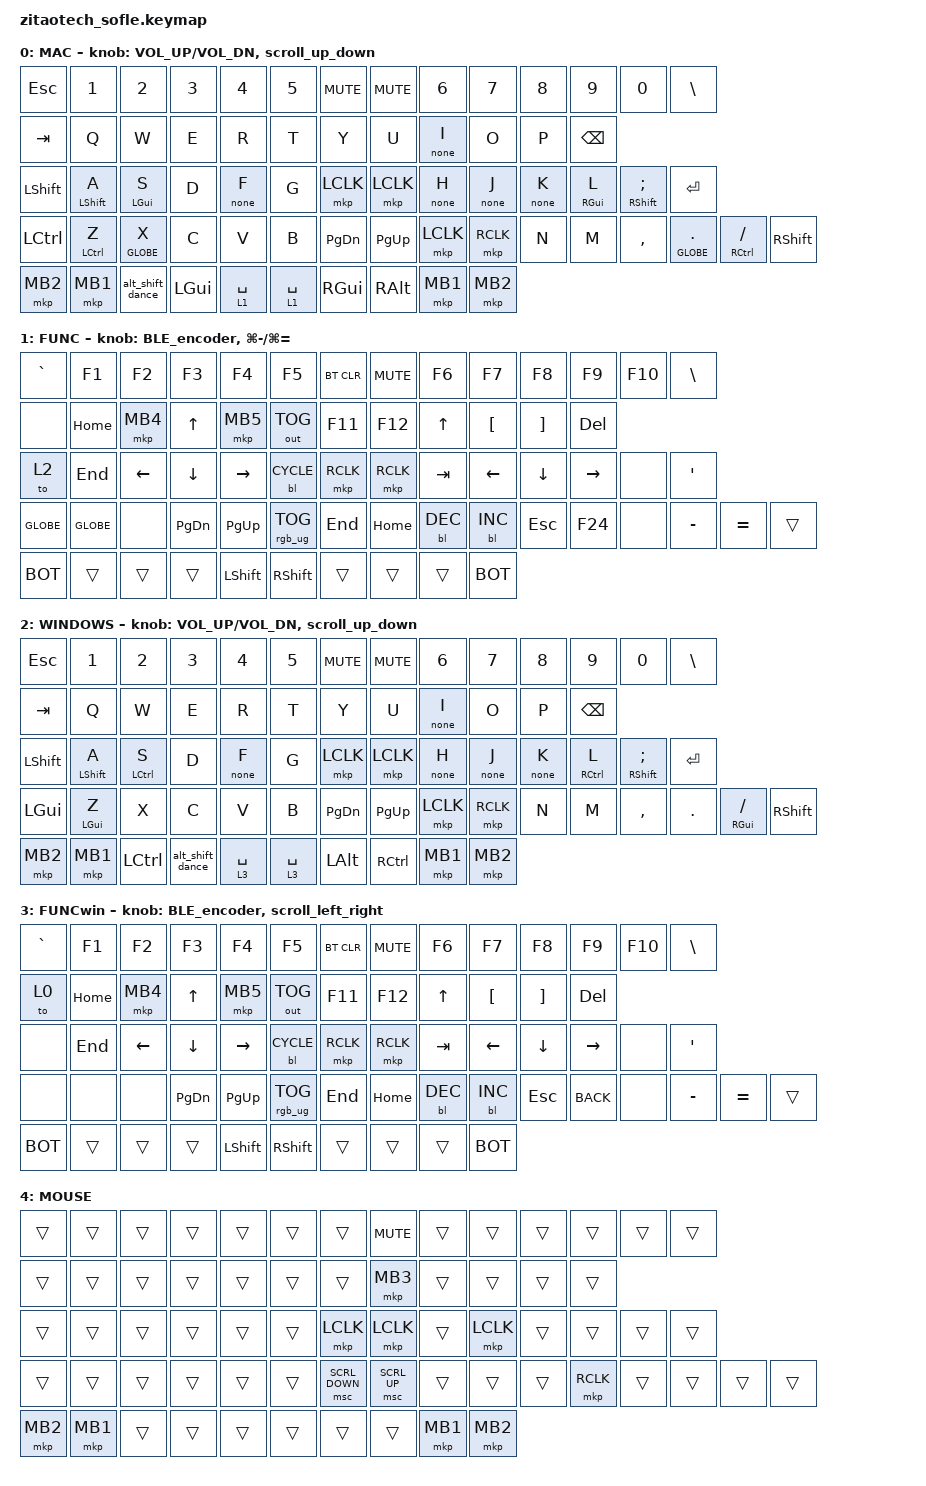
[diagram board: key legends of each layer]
/*
 * Copyright (c) 2025 ZitaoTech
 *
 * SPDX-License-Identifier: MIT
 */

#include <dt-bindings/zmk/mouse.h>
#include <behaviors.dtsi>
#include <dt-bindings/zmk/backlight.h>
#include <dt-bindings/zmk/bt.h>
#include <dt-bindings/zmk/keys.h>
#include <dt-bindings/zmk/outputs.h>
#include <dt-bindings/zmk/pointing.h>
#include <dt-bindings/zmk/rgb.h>

#define FUNC 1
#define RES 2
#define BOT bootloader
#define ZMK_POINTING_DEFAULT_SCRL_VAL 100 // 旋钮滚动的关键，100是修改滚动地快慢的。

/ {
    input_processors {
        // 临时图层处理器。鼠标图层（Mouse Layer）自动切换

        zip_temp_layer: zip_temp_layer {
            compatible = "zmk,input-processor-temp-layer";
            #input-processor-cells = <2>;
        };

        // 键入特定按键后，小红点输出上下左右。

        ip_behaviors0: ip_behaviors0 {
            compatible = "zmk,input-processor-behaviors";
            #input-processor-cells = <0>;
            type = <INPUT_EV_KEY>;
            codes = <INPUT_BTN_0>;
            bindings = <&kp RIGHT>;
        };

        ip_behaviors1: ip_behaviors1 {
            compatible = "zmk,input-processor-behaviors";
            #input-processor-cells = <0>;
            type = <INPUT_EV_KEY>;
            codes = <INPUT_BTN_1>;
            bindings = <&kp LEFT>;
        };

        ip_behaviors2: ip_behaviors2 {
            compatible = "zmk,input-processor-behaviors";
            #input-processor-cells = <0>;
            type = <INPUT_EV_KEY>;
            codes = <INPUT_BTN_2>;
            bindings = <&kp DOWN>;
        };

        ip_behaviors3: ip_behaviors3 {
            compatible = "zmk,input-processor-behaviors";
            #input-processor-cells = <0>;
            type = <INPUT_EV_KEY>;
            codes = <INPUT_BTN_3>;
            bindings = <&kp UP>;
        };
    };
};

/ {
    behaviors {
        td0: tap_dance_0 {
            compatible = "zmk,behavior-tap-dance";
            #binding-cells = <0>;
            tapping-term-ms = <400>;
            bindings = <&mkp LCLK>, <&bt BT_CLR>;
        };
    };

    behaviors {
        hm: homerow_mods {
            compatible = "zmk,behavior-hold-tap";
            #binding-cells = <2>;
            tapping-term-ms = <500>;
            bindings = <&kp &kp>;
        };
    };

    behaviors {
        sp_sc: behavior_spacescroll {
            compatible = "zmk,behavior-hold-tap";
            #binding-cells = <2>;
            flavor = "tap-preferred";     /* 单击优先 */
            tapping-term-ms = <200>;       /* 长按阈值 */
            bindings = <&none &kp>;        /* hold=none, tap=space */
        };
    };

    behaviors {
        BLE_encoder: BLE_encoder {
            compatible = "zmk,behavior-sensor-rotate";
            #sensor-binding-cells = <0>;
            bindings = <&bt BT_NXT>, <&bt BT_PRV>;
        };
    };

    // 下面添加几个我自己的 behavior

    behaviors {
        alt_shift_dance: alt_shift_dance {
            compatible = "zmk,behavior-tap-dance";
            label = "ALT_SHIFT_DANCE";
            #binding-cells = <0>;
            bindings = <&mt LEFT_ALT BACKSPACE>, <&mt LEFT_SHIFT DEL>;
        };
    };

    behaviors {
        hml: homewrow_modes_left {
            compatible = "zmk,behavior-hold-tap";
            label = "HOMEROW_MODS_LEFT_HAND";
            bindings = <&kp>, <&kp>;

            #binding-cells = <2>;
            tapping-term-ms = <200>;
            flavor = "tap-preferred";
        };
    };

    behaviors {
        hmr: homewrow_mods_right {
            compatible = "zmk,behavior-hold-tap";
            label = "HOMEROW_MODS_RIGHT_HAND";
            bindings = <&kp>, <&kp>;

            #binding-cells = <2>;
            tapping-term-ms = <200>;
            flavor = "tap-preferred";
        };
    };

    behaviors {
        scroll_up_down: behavior_sensor_rotate_mouse_wheel_up_down {
            compatible = "zmk,behavior-sensor-rotate";
            #sensor-binding-cells = <0>;
            bindings = <&msc SCRL_UP>, <&msc SCRL_DOWN>;

            tap-ms = <20>;
        };
    };

    behaviors {
        // 定义一个新的行为，专门用于横向滚动

        scroll_left_right: behavior_sensor_rotate_mouse_wheel_left_right {
            compatible = "zmk,behavior-sensor-rotate";
            #sensor-binding-cells = <0>;

            // 修改这里：UP/DOWN 改为 LEFT/RIGHT

            bindings = <&msc SCRL_LEFT>, <&msc SCRL_RIGHT>;

            tap-ms = <20>;
        };

        hml_none: hml_none {
            compatible = "zmk,behavior-hold-tap";
            label = "HML_NONE";
            bindings = <&none>, <&kp>;

            #binding-cells = <2>;
            tapping-term-ms = <200>;
            flavor = "tap-preferred";
        };
    };

    // 我定义的组合键：

    combos {
        compatible = "zmk,combos";

        leftsmallbracket {
            bindings = <&kp LEFT_PARENTHESIS>;
            key-positions = <17 18>;
            layers = <0 2>;
        };

        rightsmallbracket {
            bindings = <&kp RIGHT_PARENTHESIS>;
            key-positions = <21 22>;
            layers = <0 2>;
        };

        esc {
            bindings = <&kp ESC>;
            key-positions = <15 16>;
            layers = <0 2>;
        };

        double-quotation {
            bindings = <&kp DOUBLE_QUOTES>;
            key-positions = <27 28>;
            layers = <0 2>;
        };

        single-quotation {
            bindings = <&kp SQT>;
            key-positions = <37 38>;
            layers = <0 2>;
        };

        enter {
            bindings = <&kp ENTER>;
            key-positions = <41 42>;
            layers = <0 2>;
        };

        slash {
            bindings = <&kp BACKSLASH>;
            key-positions = <22 23>;
            layers = <0 2>;
        };

        S_slash {
            bindings = <&kp PIPE>;
            key-positions = <23 24>;
            layers = <0 2>;
        };

        leftsquarebracket {
            bindings = <&kp LEFT_BRACKET>;
            key-positions = <29 30>;
            layers = <0 2>;
        };

        rightsquarebracket {
            bindings = <&kp RIGHT_BRACKET>;
            key-positions = <35 36>;
            layers = <0 2>;
        };

        bigleft {
            bindings = <&kp LEFT_BRACE>;
            key-positions = <43 44>;
            layers = <0 2>;
        };

        bigright {
            bindings = <&kp RIGHT_BRACE>;
            key-positions = <51 52>;
            layers = <0 2>;
        };

        to-windows {
            // bindings = <&to 1>;

            bindings = <&tog 2>;  // 使用宏而不是直接 &to 1
            key-positions = <1 2>;
            layers = <0>;
        };

        to-mac {
            // bindings = <&to 0>;

            bindings = <&mac_pure>;  // 使用宏返回
            key-positions = <0 1>;
            layers = <2>;
        };
    };

    macros {
        // 强制进入 Windows 层并清理其他所有层级

        win_pure: win_pure {
            compatible = "zmk,behavior-macro";
            #binding-cells = <0>;
            wait-ms = <10>;
            tap-ms = <10>;
            bindings = <&to 0 &to 1>;
        };

        // 强制回到 Mac 层并清理

        mac_pure: mac_pure {
            compatible = "zmk,behavior-macro";
            #binding-cells = <0>;
            wait-ms = <10>;
            tap-ms = <10>;
            bindings = <&to 0>;
        };
    };

    keymap {
        compatible = "zmk,keymap";

        default_layer {
            // display-name = "QWERTY";

            display-name = "MAC";
            bindings = <
&kp ESC         &kp N1               &kp N2            &kp N3    &kp N4         &kp N5       &kp C_MUTE  &kp C_MUTE  &kp N6         &kp N7         &kp N8         &kp N9            &kp N0                 &kp BACKSLASH
&kp TAB         &kp Q                &kp W             &kp E     &kp R          &kp T        &kp Y       &kp U       &hml_none 0 I  &kp O          &kp P          &kp BSPC
&kp LEFT_SHIFT  &hml LEFT_SHIFT A    &hml LEFT_GUI S   &kp D     &hml_none 0 F  &kp G        &mkp LCLK   &mkp LCLK   &hml_none 0 H  &hml_none 0 J  &hml_none 0 K  &hmr RIGHT_GUI L  &hmr RIGHT_SHIFT SEMI  &kp ENTER
&kp LCTRL       &hml LEFT_CONTROL Z  &hml GLOBE X      &kp C     &kp V          &kp B        &kp PG_DN   &kp PG_UP   &mkp LCLK      &mkp RCLK      &kp N          &kp M             &kp COMMA              &hml GLOBE DOT  &hmr RIGHT_CONTROL FSLH  &kp RSHIFT
&mkp MB2        &mkp MB1             &alt_shift_dance  &kp LGUI  &lt 1 SPACE    &lt 1 SPACE  &kp RGUI    &kp RALT    &mkp MB1       &mkp MB2
            >;

            sensor-bindings =
                <&inc_dec_kp C_VOL_UP C_VOL_DN>,
                <&scroll_up_down>;

            // <&inc_dec_kp PAGE_UP PAGE_DOWN>;
        };

        func_layer {
            display-name = "FUNC";
            bindings = <
&kp GRAVE  &kp F1     &kp F2          &kp F3          &kp F4           &kp F5           &bt BT_CLR  &kp C_MUTE  &kp F6        &kp F7            &kp F8             &kp F9           &kp F10  &kp BACKSLASH
&none      &kp HOME   &mkp MB4        &kp UP_ARROW    &mkp MB5         &out OUT_TOG     &kp F11     &kp F12     &kp UP_ARROW  &kp LEFT_BRACKET  &kp RIGHT_BRACKET  &kp DEL
&to 2      &kp END    &kp LEFT_ARROW  &kp DOWN_ARROW  &kp RIGHT_ARROW  &bl BL_CYCLE     &mkp RCLK   &mkp RCLK   &kp TAB       &kp LEFT_ARROW    &kp DOWN_ARROW     &kp RIGHT_ARROW  &none    &kp SQT
&kp GLOBE  &kp GLOBE  &none           &kp PAGE_DOWN   &kp PAGE_UP      &rgb_ug RGB_TOG  &kp END     &kp HOME    &bl BL_DEC    &bl BL_INC        &kp ESCAPE         &kp F24          &none    &kp MINUS      &kp EQUAL  &trans
&BOT       &trans     &trans          &trans          &kp LEFT_SHIFT   &kp RIGHT_SHIFT  &trans      &trans      &trans        &BOT
            >;

            sensor-bindings = <&BLE_encoder>, <&inc_dec_kp LG(MINUS) LG(EQUAL)>;
        };

        win_layer {
            // display-name = "RESERVE";

            display-name = "WINDOWS";
            bindings = <
&kp ESC         &kp N1             &kp N2               &kp N3            &kp N4         &kp N5       &kp C_MUTE    &kp C_MUTE         &kp N6         &kp N7         &kp N8         &kp N9                &kp N0                 &kp BSLH
&kp TAB         &kp Q              &kp W                &kp E             &kp R          &kp T        &kp Y         &kp U              &hml_none 0 I  &kp O          &kp P          &kp BSPC
&kp LEFT_SHIFT  &hml LEFT_SHIFT A  &hml LEFT_CONTROL S  &kp D             &hml_none 0 F  &kp G        &mkp LCLK     &mkp LCLK          &hml_none 0 H  &hml_none 0 J  &hml_none 0 K  &hmr RIGHT_CONTROL L  &hmr RIGHT_SHIFT SEMI  &kp ENTER
&kp LGUI        &hml LEFT_GUI Z    &kp X                &kp C             &kp V          &kp B        &kp PG_DN     &kp PG_UP          &mkp LCLK      &mkp RCLK      &kp N          &kp M                 &kp COMMA              &kp DOT    &hmr RIGHT_GUI FSLH  &kp RSHIFT
&mkp MB2        &mkp MB1           &kp LEFT_CONTROL     &alt_shift_dance  &lt 3 SPACE    &lt 3 SPACE  &kp LEFT_ALT  &kp RIGHT_CONTROL  &mkp MB1       &mkp MB2
            >;

            sensor-bindings =
                <&inc_dec_kp C_VOL_UP C_VOL_DN>,
                <&scroll_up_down>;

            // <&inc_dec_kp PAGE_UP PAGE_DOWN>;
        };

        funcw_layer {
            display-name = "FUNCwin";
            bindings = <
&kp GRAVE  &kp F1    &kp F2          &kp F3          &kp F4           &kp F5           &bt BT_CLR  &kp C_MUTE  &kp F6        &kp F7            &kp F8             &kp F9           &kp F10  &kp BACKSLASH
&to 0      &kp HOME  &mkp MB4        &kp UP_ARROW    &mkp MB5         &out OUT_TOG     &kp F11     &kp F12     &kp UP_ARROW  &kp LEFT_BRACKET  &kp RIGHT_BRACKET  &kp DEL
&none      &kp END   &kp LEFT_ARROW  &kp DOWN_ARROW  &kp RIGHT_ARROW  &bl BL_CYCLE     &mkp RCLK   &mkp RCLK   &kp TAB       &kp LEFT_ARROW    &kp DOWN_ARROW     &kp RIGHT_ARROW  &none    &kp SQT
&none      &none     &none           &kp PAGE_DOWN   &kp PAGE_UP      &rgb_ug RGB_TOG  &kp END     &kp HOME    &bl BL_DEC    &bl BL_INC        &kp ESCAPE         &kp K_BACK       &none    &kp MINUS      &kp EQUAL  &trans
&BOT       &trans    &trans          &trans          &kp LEFT_SHIFT   &kp RIGHT_SHIFT  &trans      &trans      &trans        &BOT
            >;

            sensor-bindings = <&BLE_encoder>, <&scroll_left_right>;

            // <&inc_dec_kp LEFT RIGHT_ARROW>;
        };

        MOUSE_layer {
            display-name = "MOUSE";
            bindings = <
&trans    &trans    &trans  &trans  &trans  &trans  &trans          &kp C_MUTE    &trans    &trans     &trans  &trans     &trans  &trans
&trans    &trans    &trans  &trans  &trans  &trans  &trans          &mkp MB3      &trans    &trans     &trans  &trans
&trans    &trans    &trans  &trans  &trans  &trans  &mkp LCLK       &mkp LCLK     &trans    &mkp LCLK  &trans  &trans     &trans  &trans
&trans    &trans    &trans  &trans  &trans  &trans  &msc SCRL_DOWN  &msc SCRL_UP  &trans    &trans     &trans  &mkp RCLK  &trans  &trans  &trans  &trans
&mkp MB2  &mkp MB1  &trans  &trans  &trans  &trans  &trans          &trans        &mkp MB1  &mkp MB2
            >;
        };
    };
};
